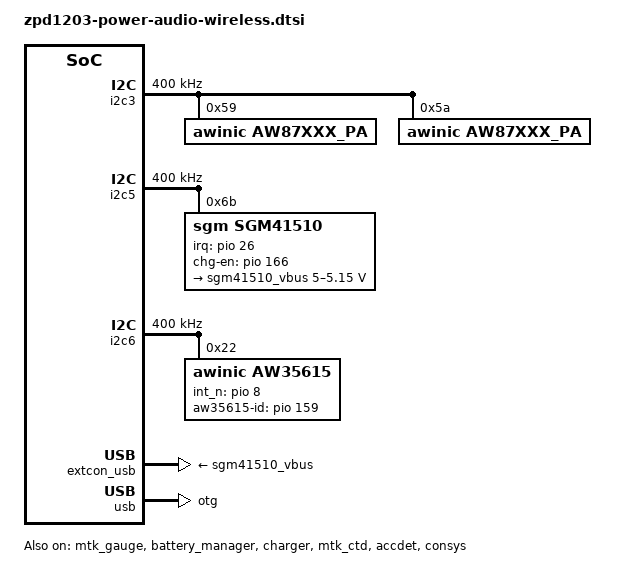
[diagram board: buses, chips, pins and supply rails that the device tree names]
// SPDX-License-Identifier: GPL-2.0+
/*
 * ZPD1203 Step 5B Device Tree additions:
 * - SGM41510 (BQ2589x register-compatible) charger on I2C5 @ 0x6b + OTG VBUS
 * - AW35615 Type-C PD controller on I2C6 @ 0x22 + extcon_usb / mtk_ctd
 * - MT6358 Fuel Gauge + mtk-master-charger + battery-manager
 * - MT6768 ASoC + MT6358 Codec + ACCDET + AW87XXX SmartPA on I2C3 @ 0x59 / 0x5A
 * - MT6768 Connsys Wi-Fi/BT regulators + antenna swap + BTIF
 */

&i2c3 {
	#address-cells = <1>;
	#size-cells = <0>;
	clock-frequency = <400000>;
	status = "okay";

	aw87xxx_pa@59 {
		compatible = "awinic,aw87xxx_pa";
		reg = <0x59>;
		dev_index = <0>;
		status = "okay";
	};

	aw87xxx_pa@5A {
		compatible = "awinic,aw87xxx_pa";
		reg = <0x5a>;
		dev_index = <1>;
		status = "okay";
	};
};

&i2c5 {
	#address-cells = <1>;
	#size-cells = <0>;
	clock-frequency = <400000>;
	status = "okay";

	sgm41510: sgm41510@6b {
		compatible = "sgm,sgm41510";
		reg = <0x6b>;
		status = "okay";
		charger_name = "primary_chg";
		charger = <&sgm41510>;
		bootmode = <&chosen>;
		sgm,irq-gpio = <&pio 26 0>;
		sgm,chg-en-gpio = <&pio 166 0>;
		sgm,charge-current = <2040000>;
		sgm,battery-regulation-voltage = <4336000>;
		sgm,termination-current = <192000>;
		sgm,precharge-current = <128000>;
		sgm,minimum-sys-voltage = <3500000>;
		sgm,boost-voltage = <4998000>;
		sgm,boost-max-current = <2400000>;
		sgm,en-ilim = <1>;

		sgm41510_vbus: usb_otg_vbus {
			regulator-name = "usb_otg_vbus";
			regulator-min-microvolt = <5000000>;
			regulator-max-microvolt = <5150000>;
		};
	};
};

&i2c6 {
	#address-cells = <1>;
	#size-cells = <0>;
	clock-frequency = <400000>;
	status = "okay";

	aw35615@22 {
		compatible = "awinic,aw35615";
		reg = <0x22>;
		status = "okay";
		awinic,int_n = <&pio 8 0>;
		aw35615-id-gpio = <&pio 159 0>;
		pd_stop_battery_soc = <80>;
		aw35615,snk_pdo_size = <1>;
		aw35615,snk_pdo_vol = <5000>;
		aw35615,snk_pdo_cur = <2000>;
		aw35615,src_pdo_size = <1>;
		aw35615,src_pdo_vol = <5000>;
		aw35615,src_pdo_cur = <2000>;
	};
};

&mtk_gauge {
	charger = <&sgm41510>;
	status = "okay";
};

&battery_manager {
	charger = <&sgm41510>;
	gauge1 = <&mtk_gauge>;
	status = "okay";
};

&charger {
	charger = <&sgm41510>;
	bootmode = <&chosen>;
	enable_type_c;
	power_path_support;
	battery_cv = <4336000>;
	max_charger_voltage = <10000000>;
	min_charger_voltage = <4400000>;
	usb_charger_current = <500000>;
	ac_charger_current = <2000000>;
	ac_charger_input_current = <2000000>;
	status = "okay";
};

&mtk_ctd {
	bc12-psy-port0 = <&sgm41510>;
	status = "okay";
};

&extcon_usb {
	charger = <&sgm41510>;
	vbus-supply = <&sgm41510_vbus>;
	id-gpios = <&pio 41 0>;
	status = "okay";
};

&usb {
	dr_mode = "otg";
	status = "okay";
};

&sound {
	compatible = "mediatek,mt6768-mt6358-sound";
	mediatek,platform = <&afe>;
	mediatek,audio-codec = <&mt6358codec>;
	mtk_spk_i2s_out = <3>;
	mtk_spk_i2s_in = <0>;
	status = "okay";

	mediatek,speaker-codec {
		sound-dai = <&snd_scp_spk>;
	};
};

&accdet {
	status = "okay";
};

&consys {
	wifi_ant_swap_gpio = <&pio 108 0>;
	status = "okay";
};
